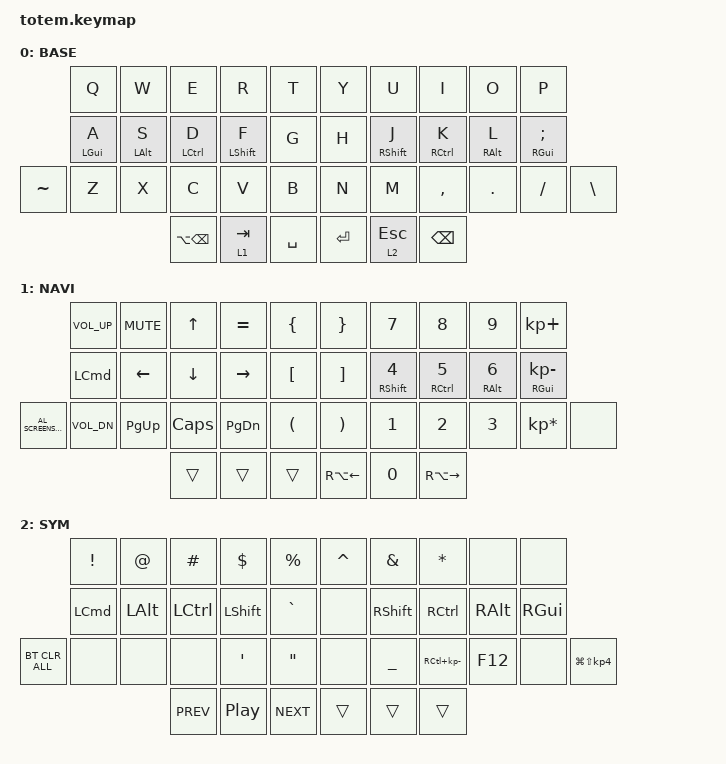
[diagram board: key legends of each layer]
//
//                                                        ▀▀▀▀▀     ▀▀▀▀▀          ▀▀█▀▀
//                                                        ▄▀▀▀▄  ▄  ▄▀▀▀▄  ▄  ▄▀▀▀▄  █  ▄▀▀▀▄
//                                                        █   █  █  █   █  █  █   █  █  █   █
//                                                         ▀▀▀   █   ▀▀▀   █   ▀▀▀   ▀   ▀▀▀
//                                                               █      ▄▄▄█▄▄▄    █   █  
//                                                               ▀      █  █  █     █▄█
//                                                             ▀▀▀▀▀    █  █  █      ▀
//                                                                      ▀  ▀  ▀
//
// ▄▄▄▄▄▄▄▄▄▄▄▄▄▄▄▄▄▄▄▄▄▄▄▄▄▄▄▄▄▄▄▄▄▄▄▄▄▄▄▄▄▄▄▄▄▄▄▄▄▄▄▄▄▄▄▄▄▄▄▄▄▄▄▄▄▄▄▄▄▄▄▄▄▄▄▄▄▄▄▄▄▄▄▄▄▄▄▄▄▄▄▄▄▄▄▄▄▄▄▄▄▄▄▄▄▄▄▄▄▄▄▄▄▄▄▄▄▄▄▄▄▄▄▄▄▄▄▄▄▄▄▄▄▄▄▄▄▄▄▄▄▄▄▄▄▄▄▄▄

#include <behaviors.dtsi>
#include <dt-bindings/zmk/bt.h>
#include <dt-bindings/zmk/keys.h>

#define BASE 0
#define NAV  1
#define SYM  2
#define ADJ  3
#define TVP1 4
#define TVP2 5

&mt {
    quick-tap-ms = <100>;
    global-quick-tap;
    flavor = "tap-preferred";
    tapping-term-ms = <170>;
};

/ {
    combos {
        compatible = "zmk,combos";

        combo_esc {
            timeout-ms = <50>;
            key-positions = <0 1>;
            bindings = <&kp ESC>;
        };

        combo_tvp {
            timeout-ms = <100>;
            key-positions = <11 12 13>;
            bindings = <&tog 0>;
        };
    };

    macros {
        gif: gif {
            label = "giphy";
            compatible = "zmk,behavior-macro";
            #binding-cells = <0>;
            bindings =
                <&macro_press>,
                <&kp LSHFT>,
                <&macro_tap>,
                <&kp N2>,
                <&macro_release>,
                <&kp LSHFT>,
                <&macro_tap>,
                <&kp G &kp I &kp F>;
        };
    };

    keymap {
        compatible = "zmk,keymap";

        // ▄▄▄▄▄▄▄▄▄▄▄▄▄▄▄▄▄▄▄▄▄▄▄▄▄▄▄▄▄▄▄▄▄▄▄▄▄▄▄▄▄▄▄▄▄▄▄▄▄▄▄▄▄▄▄▄▄▄▄▄▄▄▄▄▄▄▄▄▄▄▄▄▄▄▄▄▄▄▄▄▄▄▄▄▄▄▄▄▄▄▄▄▄▄▄▄▄▄▄▄▄▄▄▄▄▄▄▄▄▄▄▄▄▄▄▄▄▄▄▄▄▄▄▄▄▄▄▄▄▄▄▄▄▄▄▄▄▄▄▄▄▄▄▄▄▄▄▄▄

        base_layer {
            // ┏━━━━━━━━━━━━━━━━━━━━━━━━━━━━━━━━━━━━━━━┓

            label = "BASE";

            // ┗━━━━━━━━━━━━━━━━━━━━━━━━━━━━━━━━━━━━━━━┛
            //             ┏━━━━━━━━━━━┳━━━━━━━━━━━┳━━━━━━━━━━━┳━━━━━━━━━━━┳━━━━━━━━━━━┓   ┏━━━━━━━━━━━┳━━━━━━━━━━━┳━━━━━━━━━━━┳━━━━━━━━━━━┳━━━━━━━━━━━┓
            //             ┃     Q     ┃     W     ┃     F     ┃     P     ┃     G     ┃   ┃     J     ┃     L     ┃     U     ┃     Y     ┃     ;     ┃
            //             ┣━━━━━━━━━━━╋━━━━━━━━━━━╋━━━━━━━━━━━╋━━━━━━━━━━━╋━━━━━━━━━━━┫   ┣━━━━━━━━━━━╋━━━━━━━━━━━╋━━━━━━━━━━━╋━━━━━━━━━━━╋━━━━━━━━━━━┫
            //             ┃     A     ┃     R     ┃     S     ┃     T     ┃     D     ┃   ┃     H     ┃     N     ┃     E     ┃     I     ┃     O     ┃
            // ┏━━━━━━━━━━━╋━━━━━━━━━━━╋━━━━━━━━━━━╋━━━━━━━━━━━╋━━━━━━━━━━━╋━━━━━━━━━━━┫   ┣━━━━━━━━━━━╋━━━━━━━━━━━╋━━━━━━━━━━━╋━━━━━━━━━━━╋━━━━━━━━━━━╋━━━━━━━━━━━┓
            // ┃     Q     ┃     Z     ┃     X     ┃     C     ┃     V     ┃     B     ┃   ┃     K     ┃     M     ┃     ,     ┃     .     ┃     /     ┃     \     ┃
            // ┗━━━━━━━━━━━┻━━━━━━━━━━━┻━━━━━━━━━━━╋━━━━━━━━━━━╋━━━━━━━━━━━╋━━━━━━━━━━━┫   ┣━━━━━━━━━━━╋━━━━━━━━━━━╋━━━━━━━━━━━╋━━━━━━━━━━━┻━━━━━━━━━━━┻━━━━━━━━━━━┛
            //                                     ┃    DEL    ┃    TAB    ┃    SPC    ┃   ┃   ENTER   ┃           ┃   BSPC    ┃
            //                                     ┗━━━━━━━━━━━┻━━━━━━━━━━━┻━━━━━━━━━━━┛   ┗━━━━━━━━━━━┻━━━━━━━━━━━┻━━━━━━━━━━━┛

            bindings = <
           &kp Q       &kp W       &kp E              &kp R        &kp T        &kp Y    &kp U        &kp I          &kp O       &kp P
           &mt LGUI A  &mt LALT S  &mt LCTRL D        &mt LSHFT F  &kp G        &kp H    &mt RSHFT J  &mt RCTRL K    &mt RALT L  &mt RGUI SEMICOLON
&kp TILDE  &kp Z       &kp X       &kp C              &kp V        &kp B        &kp N    &kp M        &kp COMMA      &kp DOT     &kp FSLH            &kp BACKSLASH
                                   &kp LA(BACKSPACE)  &lt 1 TAB    &kp SPACE    &kp RET  &lt 2 ESC    &kp BACKSPACE
            >;
        };

        // ▄▄▄▄▄▄▄▄▄▄▄▄▄▄▄▄▄▄▄▄▄▄▄▄▄▄▄▄▄▄▄▄▄▄▄▄▄▄▄▄▄▄▄▄▄▄▄▄▄▄▄▄▄▄▄▄▄▄▄▄▄▄▄▄▄▄▄▄▄▄▄▄▄▄▄▄▄▄▄▄▄▄▄▄▄▄▄▄▄▄▄▄▄▄▄▄▄▄▄▄▄▄▄▄▄▄▄▄▄▄▄▄▄▄▄▄▄▄▄▄▄▄▄▄▄▄▄▄▄▄▄▄▄▄▄▄▄▄▄▄▄▄▄▄▄▄▄▄▄

        nav_layer {
            // ┏━━━━━━━━━━━━━━━━━━━━━━━━━━━━━━━━━━━━━━━┓

            label = "NAVI";

            // ┗━━━━━━━━━━━━━━━━━━━━━━━━━━━━━━━━━━━━━━━┛
            //             ┏━━━━━━━━━━━┳━━━━━━━━━━━┳━━━━━━━━━━━┳━━━━━━━━━━━┳━━━━━━━━━━━┓   ┏━━━━━━━━━━━┳━━━━━━━━━━━┳━━━━━━━━━━━┳━━━━━━━━━━━┳━━━━━━━━━━━┓
            //             ┃           ┃           ┃     UP    ┃           ┃     {     ┃   ┃     }     ┃     7     ┃     8     ┃     9     ┃     +     ┃
            //             ┣━━━━━━━━━━━╋━━━━━━━━━━━╋━━━━━━━━━━━╋━━━━━━━━━━━╋━━━━━━━━━━━┫   ┣━━━━━━━━━━━╋━━━━━━━━━━━╋━━━━━━━━━━━╋━━━━━━━━━━━╋━━━━━━━━━━━┫
            //             ┃   SHIFT   ┃   LEFT    ┃    DOWN   ┃   RIGHT   ┃     [     ┃   ┃     ]     ┃     4     ┃     5     ┃     6     ┃     -     ┃
            // ┏━━━━━━━━━━━╋━━━━━━━━━━━╋━━━━━━━━━━━╋━━━━━━━━━━━╋━━━━━━━━━━━╋━━━━━━━━━━━┫   ┣━━━━━━━━━━━╋━━━━━━━━━━━╋━━━━━━━━━━━╋━━━━━━━━━━━╋━━━━━━━━━━━╋━━━━━━━━━━━┓
            // ┃           ┃           ┃   P UP    ┃  C LOCK   ┃  P DOWN   ┃     (     ┃   ┃     )     ┃     1     ┃     2     ┃     3     ┃     *     ┃           ┃
            // ┗━━━━━━━━━━━┻━━━━━━━━━━━┻━━━━━━━━━━━╋━━━━━━━━━━━╋━━━━━━━━━━━╋━━━━━━━━━━━┫   ┣━━━━━━━━━━━╋━━━━━━━━━━━╋━━━━━━━━━━━╋━━━━━━━━━━━┻━━━━━━━━━━━┻━━━━━━━━━━━┛
            //                                     ┃           ┃    TAB    ┃    SPC    ┃   ┃    DEL    ┃     0     ┃           ┃
            //                                     ┗━━━━━━━━━━━┻━━━━━━━━━━━┻━━━━━━━━━━━┛   ┗━━━━━━━━━━━┻━━━━━━━━━━━┻━━━━━━━━━━━┛

            bindings = <
                      &kp C_VOL_UP  &kp K_MUTE  &kp UP    &kp EQUAL  &kp LBRC    &kp RBRC      &kp N7              &kp N8                &kp N9            &kp KP_PLUS
                      &kp LCMD      &kp LEFT    &kp DOWN  &kp RIGHT  &kp LBKT    &kp RBKT      &mt RIGHT_SHIFT N4  &mt RIGHT_CONTROL N5  &mt RIGHT_ALT N6  &mt RIGHT_GUI KP_MINUS
&kp C_AL_SCREENSAVER  &kp C_VOL_DN  &kp PG_UP   &kp CAPS  &kp PG_DN  &kp LPAR    &kp RPAR      &kp N1              &kp N2                &kp N3            &kp KP_MULTIPLY         &none
                                                &trans    &trans     &trans      &kp RA(LEFT)  &kp N0              &kp RA(RIGHT)
            >;
        };

        // ▄▄▄▄▄▄▄▄▄▄▄▄▄▄▄▄▄▄▄▄▄▄▄▄▄▄▄▄▄▄▄▄▄▄▄▄▄▄▄▄▄▄▄▄▄▄▄▄▄▄▄▄▄▄▄▄▄▄▄▄▄▄▄▄▄▄▄▄▄▄▄▄▄▄▄▄▄▄▄▄▄▄▄▄▄▄▄▄▄▄▄▄▄▄▄▄▄▄▄▄▄▄▄▄▄▄▄▄▄▄▄▄▄▄▄▄▄▄▄▄▄▄▄▄▄▄▄▄▄▄▄▄▄▄▄▄▄▄▄▄▄▄▄▄▄▄▄▄▄

        sim_layer {
            // ┏━━━━━━━━━━━━━━━━━━━━━━━━━━━━━━━━━━━━━━━┓

            label = "SYM";

            // ┗━━━━━━━━━━━━━━━━━━━━━━━━━━━━━━━━━━━━━━━┛
            //             ┏━━━━━━━━━━━┳━━━━━━━━━━━┳━━━━━━━━━━━┳━━━━━━━━━━━┳━━━━━━━━━━━┓   ┏━━━━━━━━━━━┳━━━━━━━━━━━┳━━━━━━━━━━━┳━━━━━━━━━━━┳━━━━━━━━━━━┓
            //             ┃     !     ┃     @     ┃     #     ┃     $     ┃     %     ┃   ┃     ˆ     ┃     &     ┃     Ü     ┃     '     ┃     "     ┃
            //             ┣━━━━━━━━━━━╋━━━━━━━━━━━╋━━━━━━━━━━━╋━━━━━━━━━━━╋━━━━━━━━━━━┫   ┣━━━━━━━━━━━╋━━━━━━━━━━━╋━━━━━━━━━━━╋━━━━━━━━━━━╋━━━━━━━━━━━┫
            //             ┃     Ä     ┃           ┃    SZ     ┃           ┃           ┃   ┃   MUTE    ┃   YEN     ┃   EURO    ┃  POUND    ┃     Ö     ┃
            // ┏━━━━━━━━━━━╋━━━━━━━━━━━╋━━━━━━━━━━━╋━━━━━━━━━━━╋━━━━━━━━━━━╋━━━━━━━━━━━┫   ┣━━━━━━━━━━━╋━━━━━━━━━━━╋━━━━━━━━━━━╋━━━━━━━━━━━╋━━━━━━━━━━━╋━━━━━━━━━━━┓
            // ┃           ┃  EMAIL1   ┃  EMAIL2   ┃           ┃           ┃           ┃   ┃   VOL-    ┃   VOL+    ┃   LAST    ┃   NEXT    ┃     \     ┃           ┃
            // ┗━━━━━━━━━━━┻━━━━━━━━━━━┻━━━━━━━━━━━╋━━━━━━━━━━━╋━━━━━━━━━━━╋━━━━━━━━━━━┫   ┣━━━━━━━━━━━╋━━━━━━━━━━━╋━━━━━━━━━━━╋━━━━━━━━━━━┻━━━━━━━━━━━┻━━━━━━━━━━━┛
            //                                     ┃           ┃    GIF    ┃    ADJ    ┃   ┃           ┃           ┃           ┃
            //                                     ┗━━━━━━━━━━━┻━━━━━━━━━━━┻━━━━━━━━━━━┛   ┗━━━━━━━━━━━┻━━━━━━━━━━━┻━━━━━━━━━━━┛

            bindings = <
                &kp EXCL          &kp AT        &kp HASH          &kp DLLR          &kp PRCNT            &kp CARET  &kp AMPS         &kp ASTERISK       &none          &none
                &kp LEFT_COMMAND  &kp LEFT_ALT  &kp LEFT_CONTROL  &kp LEFT_SHIFT    &kp GRAVE            &none      &kp RIGHT_SHIFT  &kp RIGHT_CONTROL  &kp RIGHT_ALT  &kp RIGHT_GUI
&bt BT_CLR_ALL  &none             &none         &none             &kp SINGLE_QUOTE  &kp DOUBLE_QUOTES    &none      &kp UNDERSCORE   &kp RC(KP_MINUS)   &kp F12        &none          &kp LG(LS(KP_NUMBER_4))
                                                &kp C_PREV        &kp C_PP          &kp C_NEXT           &trans     &trans           &trans
            >;
        };

        // ▄▄▄▄▄▄▄▄▄▄▄▄▄▄▄▄▄▄▄▄▄▄▄▄▄▄▄▄▄▄▄▄▄▄▄▄▄▄▄▄▄▄▄▄▄▄▄▄▄▄▄▄▄▄▄▄▄▄▄▄▄▄▄▄▄▄▄▄▄▄▄▄▄▄▄▄▄▄▄▄▄▄▄▄▄▄▄▄▄▄▄▄▄▄▄▄▄▄▄▄▄▄▄▄▄▄▄▄▄▄▄▄▄▄▄▄▄▄▄▄▄▄▄▄▄▄▄▄▄▄▄▄▄▄▄▄▄▄▄▄▄▄▄▄▄▄▄▄▄
        // ▄▄▄▄▄▄▄▄▄▄▄▄▄▄▄▄▄▄▄▄▄▄▄▄▄▄▄▄▄▄▄▄▄▄▄▄▄▄▄▄▄▄▄▄▄▄▄▄▄▄▄▄▄▄▄▄▄▄▄▄▄▄▄▄▄▄▄▄▄▄▄▄▄▄▄▄▄▄▄▄▄▄▄▄▄▄▄▄▄▄▄▄▄▄▄▄▄▄▄▄▄▄▄▄▄▄▄▄▄▄▄▄▄▄▄▄▄▄▄▄▄▄▄▄▄▄▄▄▄▄▄▄▄▄▄▄▄▄▄▄▄▄▄▄▄▄▄▄▄
        // ▄▄▄▄▄▄▄▄▄▄▄▄▄▄▄▄▄▄▄▄▄▄▄▄▄▄▄▄▄▄▄▄▄▄▄▄▄▄▄▄▄▄▄▄▄▄▄▄▄▄▄▄▄▄▄▄▄▄▄▄▄▄▄▄▄▄▄▄▄▄▄▄▄▄▄▄▄▄▄▄▄▄▄▄▄▄▄▄▄▄▄▄▄▄▄▄▄▄▄▄▄▄▄▄▄▄▄▄▄▄▄▄▄▄▄▄▄▄▄▄▄▄▄▄▄▄▄▄▄▄▄▄▄▄▄▄▄▄▄▄▄▄▄▄▄▄▄▄▄
    };
};
